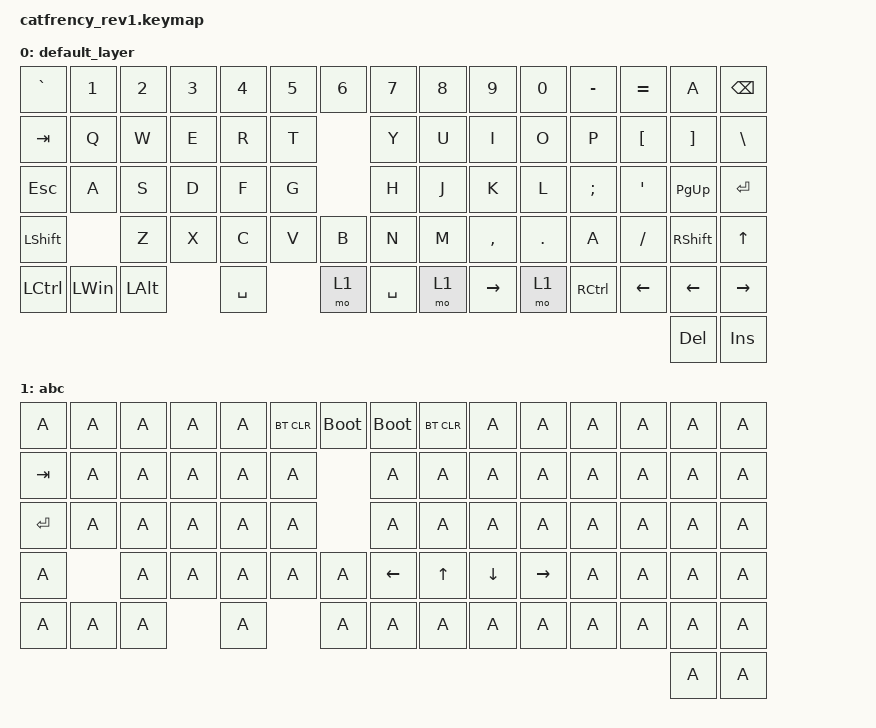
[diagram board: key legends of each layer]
// This file was generated from a template. Edit it to match your keyboard.
// See https://zmk.dev/docs/development/hardware-integration/new-shield for more instructions.

#include <behaviors.dtsi>
#include <dt-bindings/zmk/keys.h>
#include <dt-bindings/zmk/bt.h>

/ {
    // Define a default keymap here.
    // See https://zmk.dev/docs/development/hardware-integration/new-shield#default-keymap.
    keymap {
        compatible = "zmk,keymap";

        default_layer {
            
            //A -1
            //B -2
            //C
            //D
            //E
            //F



            bindings = <
                //1          2          3          4       5       6       7              8-1         9-2        10-3               11-4         12-5            13-6              14-7               15-8
                &kp GRAVE    &kp N1     &kp N2     &kp N3  &kp N4  &kp N5  &kp N6         &kp N7      &kp N8     &kp N9             &kp N0       &kp MINUS       &kp EQUAL         &kp A              &kp BACKSPACE      //A
                &kp TAB      &kp Q      &kp W      &kp E   &kp R   &kp T                  &kp Y       &kp U      &kp I              &kp O        &kp P           &kp LEFT_BRACKET  &kp RIGHT_BRACKET  &kp BACKSLASH      //B
                &kp ESC      &kp A      &kp S      &kp D   &kp F   &kp G                  &kp H       &kp J      &kp K              &kp L        &kp SEMICOLON   &kp SINGLE_QUOTE  &kp PG_UP          &kp RET           //C
                &kp LSHIFT              &kp Z      &kp X   &kp C   &kp V   &kp B          &kp N       &kp M      &kp COMMA          &kp PERIOD   &kp A           &kp SLASH         &kp RSHIFT         &kp UP_ARROW           //D
                &kp LCTRL    &kp LWIN   &kp LALT           &kp SPACE       &mo 1          &kp SPACE   &mo 1      &kp RIGHT_ARROW    &mo 1        &kp RCTRL       &kp LEFT_ARROW    &kp LEFT_ARROW     &kp RIGHT_ARROW     //E   
                                                                                                                                                                                    &kp DELETE       &kp INSERT              //F 
            >;    
        };  
        
        abc {

            bindings = <
                &kp A   &kp A   &kp A   &kp A   &kp A   &bt BT_CLR   &bootloader      &bootloader   &bt BT_CLR   &kp A   &kp A   &kp A   &kp A   &kp A   &kp A     
                &kp TAB &kp A   &kp A   &kp A   &kp A   &kp A                      &kp A   &kp A   &kp A   &kp A   &kp A   &kp A   &kp A   &kp A    
                &kp RET &kp A   &kp A   &kp A   &kp A   &kp A                      &kp A   &kp A   &kp A   &kp A   &kp A   &kp A   &kp A   &kp A   
                &kp A           &kp A   &kp A   &kp A   &kp A   &kp A              &kp LEFT_ARROW   &kp UP_ARROW   &kp DOWN_ARROW   &kp RIGHT_ARROW   &kp A   &kp A   &kp A   &kp A    
                &kp A   &kp A   &kp A           &kp A           &kp A              &kp A   &kp A   &kp A   &kp A   &kp A   &kp A   &kp A   &kp A    
                                                                                                                                                    &kp A   &kp A   
            >;
        };
    };
};
